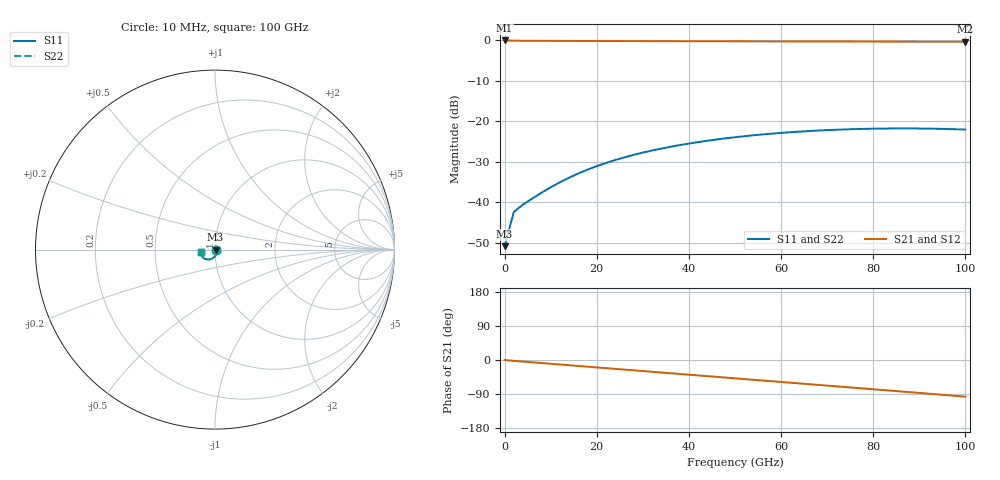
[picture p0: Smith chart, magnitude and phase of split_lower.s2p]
#  GHZ S DB R 50
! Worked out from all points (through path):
!   52 points, 10 MHz to 100 GHz, reference 50 ohm
!   highest |S21| = -0.02 dB at 10 MHz (marker M1); lowest = -0.3 dB at 100 GHz (marker M2)
!   group delay of S21, straight-line fit = 2.67 ps
!   lowest |S11| = -50.9 dB at 10 MHz (marker M3), VSWR 1.01, Z = 50.3 + j0.00548 ohm
!   |S11| at or under -10 dB: start of sweep to end of sweep
!   |S22| runs from -50.9 to -21.8 dB; largest |S21 - S12| = 1.1e-14
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0.01  -50.85 1.1  -0.02 -0.0  -0.02 -0.0  -50.85 1.1
2  -42.40 3.7  -0.08 -2.2  -0.08 -2.2  -42.39 2.7
4  -40.57 -16.9  -0.10 -4.2  -0.10 -4.2  -40.79 -17.3
8  -37.67 -42.5  -0.12 -8.0  -0.12 -8.0  -37.71 -42.0
10  -36.32 -51.2  -0.13 -9.9  -0.13 -9.9  -36.32 -50.8
12  -35.08 -58.2  -0.13 -11.9  -0.13 -11.9  -35.06 -58.1
14  -33.93 -64.2  -0.14 -13.8  -0.14 -13.8  -33.92 -64.1
18  -31.94 -74.0  -0.15 -17.6  -0.15 -17.6  -31.94 -74.0
22  -30.29 -82.1  -0.17 -21.5  -0.17 -21.5  -30.29 -82.1
26  -28.91 -89.0  -0.18 -25.3  -0.18 -25.3  -28.91 -89.0
30  -27.74 -95.2  -0.19 -29.2  -0.19 -29.2  -27.74 -95.1
34  -26.74 -100.8  -0.20 -33.0  -0.20 -33.0  -26.74 -100.8
38  -25.88 -106.1  -0.21 -36.8  -0.21 -36.8  -25.88 -106.1
42  -25.14 -111.1  -0.22 -40.7  -0.22 -40.7  -25.14 -111.1
46  -24.49 -115.9  -0.23 -44.5  -0.23 -44.5  -24.49 -115.9
52  -23.69 -122.8  -0.24 -50.3  -0.24 -50.3  -23.69 -122.7
60  -22.87 -131.5  -0.26 -58.0  -0.26 -58.0  -22.86 -131.4
68  -22.29 -139.8  -0.28 -65.7  -0.28 -65.7  -22.29 -139.7
76  -21.93 -147.9  -0.29 -73.4  -0.29 -73.4  -21.92 -147.7
84  -21.77 -155.7  -0.31 -81.1  -0.31 -81.1  -21.77 -155.5
92  -21.81 -163.4  -0.33 -88.9  -0.33 -88.9  -21.80 -163.1
100  -22.05 -170.8  -0.34 -96.6  -0.34 -96.6  -22.04 -170.5
